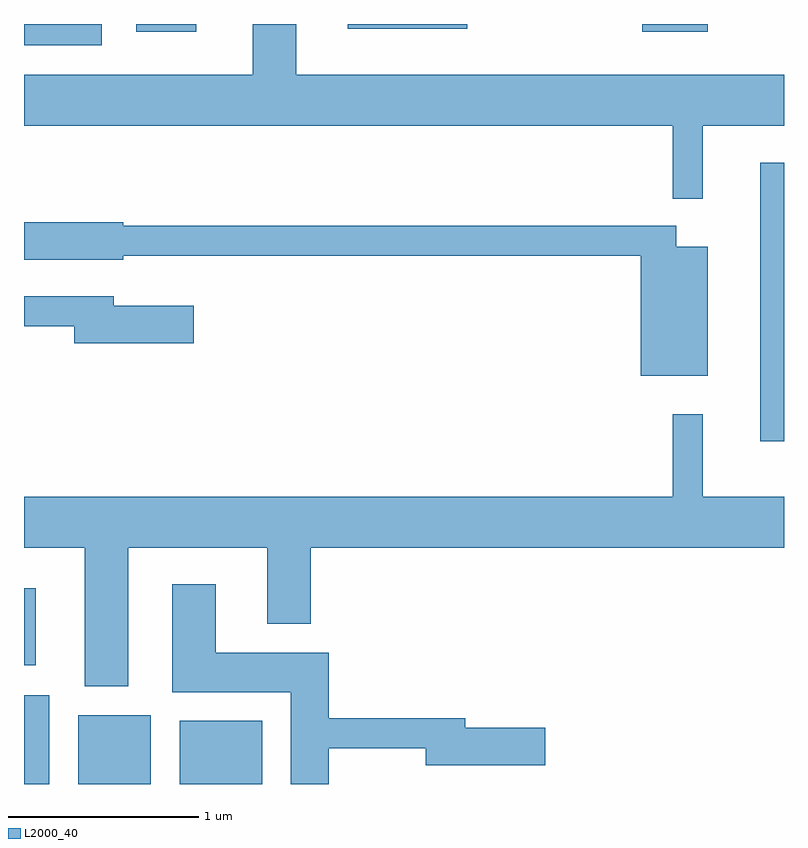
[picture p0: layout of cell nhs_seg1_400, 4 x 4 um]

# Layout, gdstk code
import gdstk
lib = gdstk.Library(unit=1e-6, precision=1e-09)
def R(c, l, rs):  # rectangles x0, y0, x1, y1
    for r in rs: c.add(gdstk.rectangle(r[:2], r[2:], *l))
def P(c, l, *ps):  # polygons
    for p in ps: c.add(gdstk.Polygon(p, *l))
L2000_40 = (2000, 40)

nhs_seg1_400 = lib.new_cell('nhs_seg1_400')
R(nhs_seg1_400, L2000_40, [(197.611,851.712,197.744,852.179), (197.896,851.712,198.279,852.074), (198.431,851.712,198.864,852.044), (197.611,852.336,197.674,852.743), (201.486,853.516,201.611,854.983), (197.611,855.601,198.019,855.712), (198.201,855.671,198.518,855.712), (200.866,855.671,201.209,855.712), (199.316,855.686,199.944,855.712)])
P(nhs_seg1_400, L2000_40, [(201.184,855.176),(201.611,855.176),(201.611,855.444),(199.044,855.444),(199.044,855.712),(198.816,855.712),(198.816,855.444),(197.611,855.444),(197.611,855.176),(201.026,855.176),(201.026,854.793),(201.184,854.793)],
  [(201.209,854.539),(201.044,854.539),(201.044,854.649),(198.134,854.649),(198.134,854.669),(197.611,854.669),(197.611,854.471),(198.134,854.471),(198.134,854.491),(200.856,854.491),(200.856,853.861),(201.209,853.861)],
  [(198.504,854.229),(198.084,854.229),(198.084,854.279),(197.611,854.279),(197.611,854.121),(197.876,854.121),(197.876,854.031),(198.504,854.031)],
  [(198.159,852.956),(198.891,852.956),(198.891,852.556),(199.119,852.556),(199.119,852.956),(201.611,852.956),(201.611,853.224),(201.184,853.224),(201.184,853.658),(201.026,853.658),(201.026,853.224),(197.611,853.224),(197.611,852.956),(197.931,852.956),(197.931,852.226),(198.159,852.226)],
  [(199.214,851.901),(199.726,851.901),(199.726,851.811),(200.354,851.811),(200.354,852.009),(199.934,852.009),(199.934,852.059),(199.214,852.059),(199.214,852.404),(198.619,852.404),(198.619,852.764),(198.391,852.764),(198.391,852.196),(199.016,852.196),(199.016,851.712),(199.214,851.712)])

lib.write_gds('nhs_seg1_400.gds')
